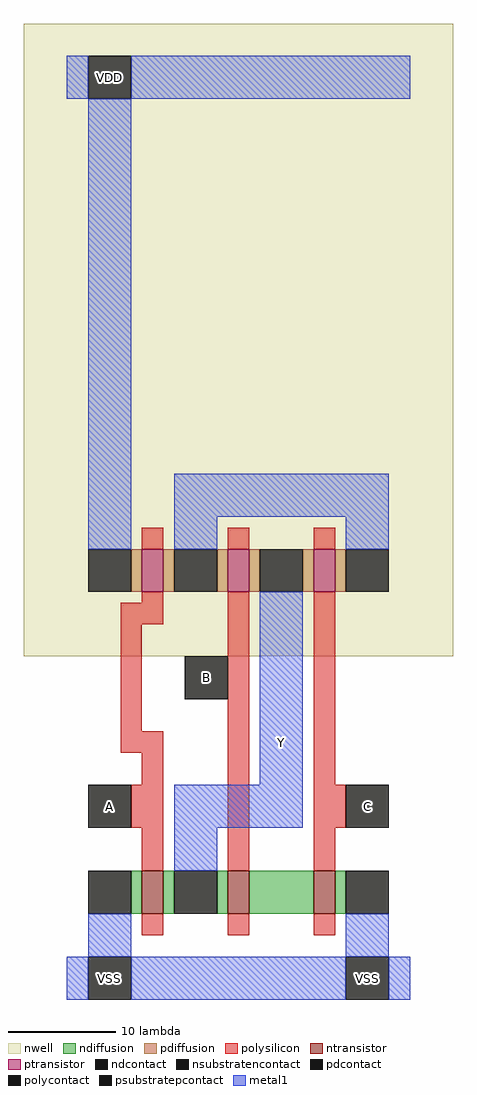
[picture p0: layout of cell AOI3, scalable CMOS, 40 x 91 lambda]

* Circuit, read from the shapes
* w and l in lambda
.subckt AOI3 A B C VDD VSS Y
M1 Y A VSS VSS nfet w=4 l=2
M2 n1 B Y VSS nfet w=4 l=2
M3 VSS C n1 VSS nfet w=4 l=2
M4 n2 A VDD VDD pfet w=4 l=2
M5 Y B n2 VDD pfet w=4 l=2
M6 n2 C Y VDD pfet w=4 l=2
.ends

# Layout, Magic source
magic
tech scmos
<< nwell >>
rect -4 32 36 91
<< ntransistor >>
rect 7 8 9 12
rect 15 8 17 12
rect 23 8 25 12
<< ptransistor >>
rect 7 38 9 42
rect 15 38 17 42
rect 23 38 25 42
<< ndiffusion >>
rect 6 8 7 12
rect 9 8 10 12
rect 14 8 15 12
rect 17 8 23 12
rect 25 8 26 12
<< pdiffusion >>
rect 6 38 7 42
rect 9 38 10 42
rect 14 38 15 42
rect 17 38 18 42
rect 22 38 23 42
rect 25 38 26 42
<< ndcontact >>
rect 2 8 6 12
rect 10 8 14 12
rect 26 8 30 12
<< pdcontact >>
rect 2 38 6 42
rect 10 38 14 42
rect 18 38 22 42
rect 26 38 30 42
<< psubstratepcontact >>
rect 2 0 6 4
rect 26 0 30 4
<< nsubstratencontact >>
rect 2 84 6 88
<< polysilicon >>
rect 7 42 9 44
rect 15 42 17 44
rect 23 42 25 44
rect 7 37 9 38
rect 5 35 9 37
rect 5 25 7 35
rect 5 23 9 25
rect 7 20 9 23
rect 6 16 9 20
rect 7 12 9 16
rect 15 12 17 38
rect 23 20 25 38
rect 23 16 26 20
rect 23 12 25 16
rect 7 6 9 8
rect 15 6 17 8
rect 23 6 25 8
<< polycontact >>
rect 11 28 15 32
rect 2 16 6 20
rect 26 16 30 20
<< metal1 >>
rect 0 84 2 88
rect 6 84 32 88
rect 2 42 6 84
rect 10 45 30 49
rect 10 42 14 45
rect 26 42 30 45
rect 18 20 22 38
rect 10 16 22 20
rect 10 12 14 16
rect 2 4 6 8
rect 26 4 30 8
rect 0 0 2 4
rect 6 0 26 4
rect 30 0 32 4
<< labels >>
rlabel psubstratepcontact 4 2 4 2 1 VSS
rlabel psubstratepcontact 28 2 28 2 1 VSS
rlabel polycontact 4 18 4 18 1 A
rlabel polycontact 13 30 13 30 1 B
rlabel polycontact 28 18 28 18 1 C
rlabel metal1 20 24 20 24 1 Y
rlabel nsubstratencontact 4 86 4 86 1 VDD
<< end >>
